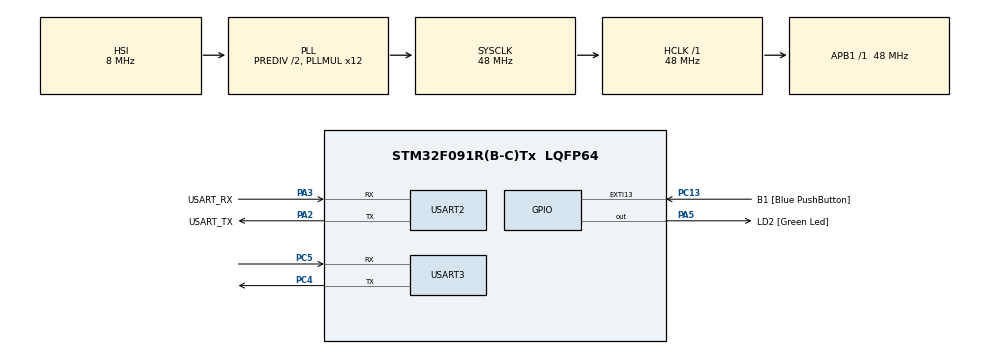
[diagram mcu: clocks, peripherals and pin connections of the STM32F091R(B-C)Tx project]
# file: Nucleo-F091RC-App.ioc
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Mcu.Family=STM32F0
Mcu.Name=STM32F091R(B-C)Tx
Mcu.Package=LQFP64
NVIC.EXTI4_15_IRQn=true\:0\:0\:false\:false\:true\:true\:true
PA13.GPIO_Label=TMS
PA13.Mode=Serial_Wire
PA13.Signal=SYS_SWDIO
PA14.GPIO_Label=TCK
PA14.Mode=Serial_Wire
PA14.Signal=SYS_SWCLK
PA2.GPIO_Label=USART_TX
PA2.GPIO_Mode=GPIO_MODE_AF_PP
PA2.GPIO_PuPd=GPIO_NOPULL
PA2.GPIO_Speed=GPIO_SPEED_FREQ_LOW
PA2.Mode=Asynchronous
PA2.Signal=USART2_TX
PA3.GPIO_Label=USART_RX
PA3.GPIO_Mode=GPIO_MODE_AF_PP
PA3.GPIO_PuPd=GPIO_NOPULL
PA3.GPIO_Speed=GPIO_SPEED_FREQ_LOW
PA3.Mode=Asynchronous
PA3.Signal=USART2_RX
PA5.GPIO_Label=LD2 [Green Led]
PA5.GPIO_Mode=GPIO_MODE_OUTPUT_PP
PA5.GPIO_PuPd=GPIO_NOPULL
PA5.GPIO_Speed=GPIO_SPEED_FREQ_LOW
PA5.Signal=GPIO_Output
PC13.GPIO_Label=B1 [Blue PushButton]
PC13.GPIO_ModeDefaultEXTI=GPIO_MODE_IT_FALLING
PC13.Signal=GPXTI13
PC14OSC32_IN.Mode=LSE-External-Oscillator
PC14OSC32_IN.Signal=RCC_OSC32_IN
PC15OSC32_OUT.Mode=LSE-External-Oscillator
PC15OSC32_OUT.Signal=RCC_OSC32_OUT
PC4.Mode=Asynchronous
PC4.Signal=USART3_TX
PC5.Mode=Asynchronous
PC5.Signal=USART3_RX
PF0-OSC_IN.Mode=HSE-External-Clock-Source
PF0-OSC_IN.Signal=RCC_OSC_IN
PF1-OSC_OUT.Signal=RCC_OSC_OUT
ProjectManager.HeapSize=0x200
ProjectManager.StackSize=0x400
ProjectManager.TargetToolchain=STM32CubeIDE
RCC.AHBFreq_Value=48000000
RCC.APB1Freq_Value=48000000
RCC.APB1TimFreq_Value=48000000
RCC.FLatency-AdvancedSettings=FLASH_LATENCY_1
RCC.HCLKFreq_Value=48000000
RCC.PLLDivider=RCC_PREDIV_DIV2
RCC.PLLMUL=RCC_PLL_MUL12
RCC.PREFETCH_ENABLE-AdvancedSettings=1
RCC.SYSCLKFreq_VALUE=48000000
RCC.SYSCLKSource=RCC_SYSCLKSOURCE_PLLCLK
USART2.VirtualMode=VM_ASYNC
USART2.VirtualMode-Asynchronous=VM_ASYNC
USART3.VirtualMode-Asynchronous=VM_ASYNC
board=NUCLEO-F091RC

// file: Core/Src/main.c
/* USER CODE BEGIN Header */
/**
  ******************************************************************************
  * @file           : main.c
  * @brief          : Main program body
  ******************************************************************************
  * @attention
  *
  * <h2><center>&copy; Copyright (c) 2021 STMicroelectronics.
  * All rights reserved.</center></h2>
  *
  * This software component is licensed by ST under BSD 3-Clause license,
  * the "License"; You may not use this file except in compliance with the
  * License. You may obtain a copy of the License at:
  *                        opensource.org/licenses/BSD-3-Clause
  *
  ******************************************************************************
  */
/* USER CODE END Header */
#include "main.h"
#include<stdio.h>

/* USER CODE BEGIN PD */
#define APPLICATION_ADDRESS 0x08008000
/* USER CODE END PD */

UART_HandleTypeDef huart2;
UART_HandleTypeDef huart3;

/* USER CODE BEGIN PV */
#if   (defined ( __CC_ARM ))
  __IO uint32_t VectorTable[48] __attribute__((at(0x20000000)));
#elif (defined (__ICCARM__))
#pragma location = 0x20000000
  __no_init __IO uint32_t VectorTable[48];
#elif defined   (  __GNUC__  )
  __IO uint32_t VectorTable[48] __attribute__((section(".RAMVectorTable")));
#elif defined ( __TASKING__ )
  __IO uint32_t VectorTable[48] __at(0x20000000);
#endif
/* USER CODE END PV */

void SystemClock_Config(void);
static void MX_GPIO_Init(void);
static void MX_USART2_UART_Init(void);
static void MX_USART3_UART_Init(void);

int main(void)
{
	uint32_t i=0;
  /* USER CODE BEGIN 1 */
	  for(i = 0; i < 48; i++)
	  {
	    VectorTable[i] = *(__IO uint32_t*)(APPLICATION_ADDRESS + (i<<2));
	  }
	  /* Enable the SYSCFG peripheral clock*/
	  __HAL_RCC_SYSCFG_CLK_ENABLE();
	  /* Remap SRAM at 0x00000000 */
	  __HAL_SYSCFG_REMAPMEMORY_SRAM();
  /* USER CODE END 1 */

  /* MCU Configuration--------------------------------------------------------*/

  /* Reset of all peripherals, Initializes the Flash interface and the Systick. */
  HAL_Init();

  /* Configure the system clock */
  SystemClock_Config();

  /* Initialize all configured peripherals */
  MX_GPIO_Init();
  MX_USART2_UART_Init();
  MX_USART3_UART_Init();

  /* Infinite loop */
  /* USER CODE BEGIN WHILE */

  /* Reallocate the vector table from boot to app*/
  while (1)
  {
    /* USER CODE END WHILE */

    /* USER CODE BEGIN 3 */
	  printf("APP running...\r\n");
	  HAL_Delay(2000);
	  printf("after delay...\r\n");
  }
  /* USER CODE END 3 */
}

int _write(int file, char *ptr, int len){
	int DataIdx;
	for(DataIdx=0; DataIdx<len; DataIdx++){
		HAL_UART_Transmit(&huart3, (uint8_t *)ptr++, 1, 100);
	}
	return len;
}
void SystemClock_Config(void)
{
  RCC_OscInitTypeDef RCC_OscInitStruct = {0};
  RCC_ClkInitTypeDef RCC_ClkInitStruct = {0};
  RCC_PeriphCLKInitTypeDef PeriphClkInit = {0};

  /** Initializes the RCC Oscillators according to the specified parameters
  * in the RCC_OscInitTypeDef structure.
  */
  RCC_OscInitStruct.OscillatorType = RCC_OSCILLATORTYPE_HSI;
  RCC_OscInitStruct.HSIState = RCC_HSI_ON;
  RCC_OscInitStruct.HSICalibrationValue = RCC_HSICALIBRATION_DEFAULT;
  RCC_OscInitStruct.PLL.PLLState = RCC_PLL_ON;
  RCC_OscInitStruct.PLL.PLLSource = RCC_PLLSOURCE_HSI;
  RCC_OscInitStruct.PLL.PLLMUL = RCC_PLL_MUL12;
  RCC_OscInitStruct.PLL.PREDIV = RCC_PREDIV_DIV2;
  if (HAL_RCC_OscConfig(&RCC_OscInitStruct) != HAL_OK)
  {
    Error_Handler();
  }
  /** Initializes the CPU, AHB and APB buses clocks
  */
  RCC_ClkInitStruct.ClockType = RCC_CLOCKTYPE_HCLK|RCC_CLOCKTYPE_SYSCLK
                              |RCC_CLOCKTYPE_PCLK1;
  RCC_ClkInitStruct.SYSCLKSource = RCC_SYSCLKSOURCE_PLLCLK;
  RCC_ClkInitStruct.AHBCLKDivider = RCC_SYSCLK_DIV1;
  RCC_ClkInitStruct.APB1CLKDivider = RCC_HCLK_DIV1;

  if (HAL_RCC_ClockConfig(&RCC_ClkInitStruct, FLASH_LATENCY_1) != HAL_OK)
  {
    Error_Handler();
  }
  PeriphClkInit.PeriphClockSelection = RCC_PERIPHCLK_USART3|RCC_PERIPHCLK_USART2;
  PeriphClkInit.Usart2ClockSelection = RCC_USART2CLKSOURCE_PCLK1;
  PeriphClkInit.Usart3ClockSelection = RCC_USART3CLKSOURCE_PCLK1;
  if (HAL_RCCEx_PeriphCLKConfig(&PeriphClkInit) != HAL_OK)
  {
    Error_Handler();
  }
}

static void MX_USART2_UART_Init(void)
{

  huart2.Instance = USART2;
  huart2.Init.BaudRate = 115200;
  huart2.Init.WordLength = UART_WORDLENGTH_8B;
  huart2.Init.StopBits = UART_STOPBITS_1;
  huart2.Init.Parity = UART_PARITY_NONE;
  huart2.Init.Mode = UART_MODE_TX_RX;
  huart2.Init.HwFlowCtl = UART_HWCONTROL_NONE;
  huart2.Init.OverSampling = UART_OVERSAMPLING_16;
  huart2.Init.OneBitSampling = UART_ONE_BIT_SAMPLE_DISABLE;
  huart2.AdvancedInit.AdvFeatureInit = UART_ADVFEATURE_NO_INIT;
  if (HAL_UART_Init(&huart2) != HAL_OK)
  {
    Error_Handler();
  }

}

static void MX_USART3_UART_Init(void)
{

  huart3.Instance = USART3;
  huart3.Init.BaudRate = 115200;
  huart3.Init.WordLength = UART_WORDLENGTH_8B;
  huart3.Init.StopBits = UART_STOPBITS_1;
  huart3.Init.Parity = UART_PARITY_NONE;
  huart3.Init.Mode = UART_MODE_TX_RX;
  huart3.Init.HwFlowCtl = UART_HWCONTROL_NONE;
  huart3.Init.OverSampling = UART_OVERSAMPLING_16;
  huart3.Init.OneBitSampling = UART_ONE_BIT_SAMPLE_DISABLE;
  huart3.AdvancedInit.AdvFeatureInit = UART_ADVFEATURE_NO_INIT;
  if (HAL_UART_Init(&huart3) != HAL_OK)
  {
    Error_Handler();
  }

}

static void MX_GPIO_Init(void)
{
  GPIO_InitTypeDef GPIO_InitStruct = {0};

  /* GPIO Ports Clock Enable */
  __HAL_RCC_GPIOC_CLK_ENABLE();
  __HAL_RCC_GPIOF_CLK_ENABLE();
  __HAL_RCC_GPIOA_CLK_ENABLE();

  /*Configure GPIO pin Output Level */
  HAL_GPIO_WritePin(LD2_GPIO_Port, LD2_Pin, GPIO_PIN_RESET);

  /*Configure GPIO pin : B1_Pin */
  GPIO_InitStruct.Pin = B1_Pin;
  GPIO_InitStruct.Mode = GPIO_MODE_IT_FALLING;
  GPIO_InitStruct.Pull = GPIO_NOPULL;
  HAL_GPIO_Init(B1_GPIO_Port, &GPIO_InitStruct);

  /*Configure GPIO pin : LD2_Pin */
  GPIO_InitStruct.Pin = LD2_Pin;
  GPIO_InitStruct.Mode = GPIO_MODE_OUTPUT_PP;
  GPIO_InitStruct.Pull = GPIO_NOPULL;
  GPIO_InitStruct.Speed = GPIO_SPEED_FREQ_LOW;
  HAL_GPIO_Init(LD2_GPIO_Port, &GPIO_InitStruct);

  /* EXTI interrupt init*/
  HAL_NVIC_SetPriority(EXTI4_15_IRQn, 0, 0);
  HAL_NVIC_EnableIRQ(EXTI4_15_IRQn);

}

void Error_Handler(void)
{
  __disable_irq();
  while (1)
  {
  }
}

/************************ (C) COPYRIGHT STMicroelectronics *****END OF FILE****/
